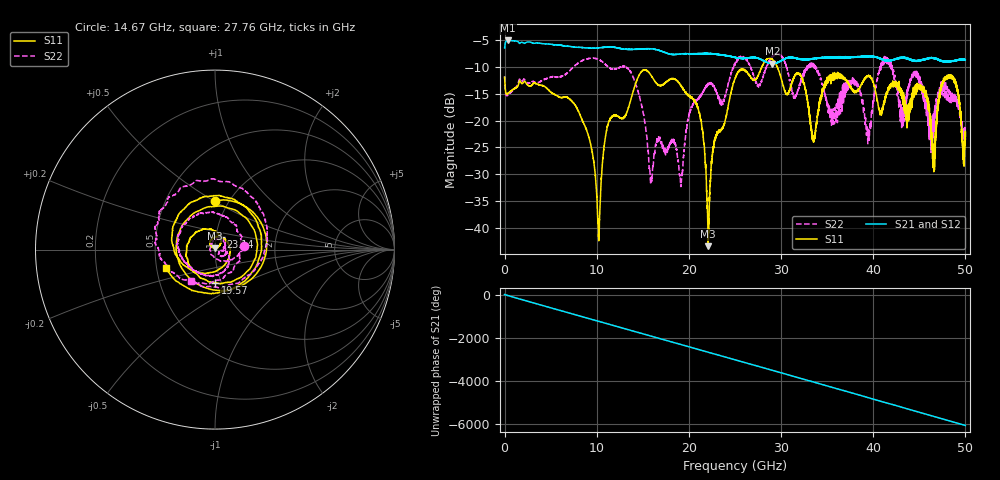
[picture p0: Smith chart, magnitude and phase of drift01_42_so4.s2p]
!Created with skrf (http://scikit-rf.org).
# Hz S RI R 50.0
!freq ReS11 ImS11 ReS21 ImS21 ReS12 ImS12 ReS22 ImS22
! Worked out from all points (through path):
!   10001 points, 300 kHz to 50 GHz, reference 50 ohm
!   highest |S21| = -5.05 dB at 395.3 MHz (marker M1); lowest = -9.4 dB at 29.06 GHz (marker M2)
!   group delay of S21, straight-line fit = 336 ps
!   lowest |S11| = -43.4 dB at 22.09 GHz (marker M3), VSWR 1.01, Z = 49.8 + j0.653 ohm
!   |S11| at or under -10 dB: start of sweep to 27.92 GHz; 29.59 GHz to end of sweep
!   |S22| runs from -32.3 to -7.5 dB; largest |S21 - S12| = 0.012
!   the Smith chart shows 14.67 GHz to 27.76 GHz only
!   S11 on the Smith chart (normalised r, x): 14.67 GHz: 0.86, +0.51; 19.57 GHz: 0.94, -0.36; 23.14 GHz: 1.06, +0.15; 27.76 GHz: 0.56, -0.13
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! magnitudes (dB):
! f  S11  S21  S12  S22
! 300 kHz  -11.9  -6.5  -6.5  -11.7
! 395.3 MHz  -14.9  -5.1  -5.1  -15.2
! 8.335 GHz  -19.5  -6.4  -6.4  -8.9
! 10.2 GHz  -41.3  -6.4  -6.4  -8.6
! 11.23 GHz  -20.6  -6.3  -6.3  -10.0
! 14.67 GHz  -11.3  -6.7  -6.7  -15.7
! 15.88 GHz  -11.5  -6.6  -6.6  -31.0
! 16.67 GHz  -13.4  -6.9  -6.9  -23.3
! 19.57 GHz  -14.7  -7.5  -7.5  -23.9
! 21.21 GHz  -19.2  -7.5  -7.5  -15.5
! 22.09 GHz  -43.4  -7.5  -7.5  -13.5
! 23.14 GHz  -22.3  -7.6  -7.7  -15.5
! 25 GHz  -12.1  -8.2  -8.2  -9.4
! 27.76 GHz  -10.6  -8.5  -8.6  -13.2
! 29.06 GHz  -8.6  -9.4  -9.4  -8.0
! 33.34 GHz  -22.5  -8.5  -8.5  -9.5
! 39.47 GHz  -11.6  -8.1  -8.0  -22.4
! 41.67 GHz  -13.9  -8.8  -8.8  -8.7
! 45.48 GHz  -14.7  -8.6  -8.6  -16.0
! 46.55 GHz  -27.8  -8.4  -8.4  -19.7
! 48.5 GHz  -11.6  -8.9  -8.9  -15.8
! 50 GHz  -22.9  -8.7  -8.7  -23.2
